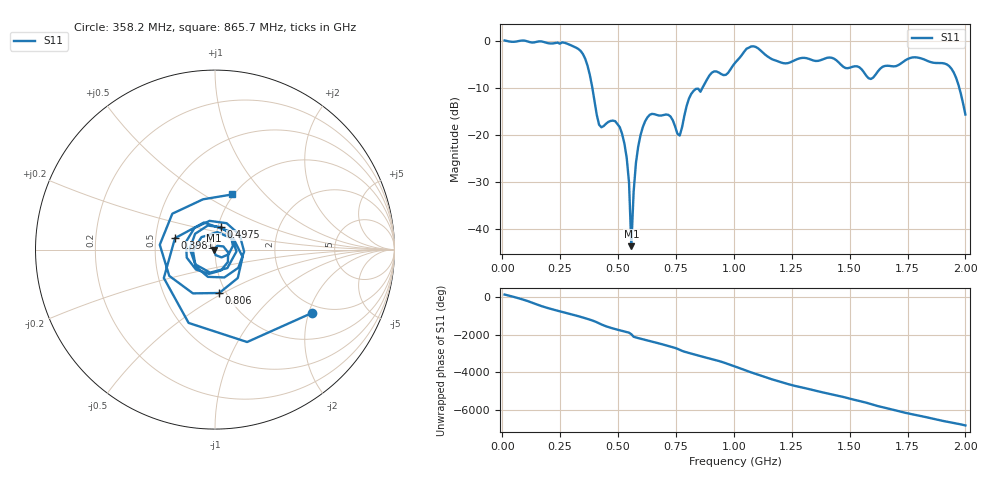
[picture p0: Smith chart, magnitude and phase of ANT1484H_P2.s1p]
!Created with skrf (http://scikit-rf.org).
# Hz S RI R 50.0
!freq ReS11 ImS11
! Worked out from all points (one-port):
!   201 points, 10 MHz to 2 GHz, reference 50 ohm
!   lowest |S11| = -43.8 dB at 557.2 MHz (marker M1), VSWR 1.01, Z = 49.4 - j0.144 ohm
!   |S11| at or under -10 dB: 389 MHz to 864.3 MHz (475.3 MHz wide, 75.8 % of centre); 1.974 GHz to end of sweep
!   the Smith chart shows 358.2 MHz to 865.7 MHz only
!   S11 on the Smith chart (normalised r, x): 358.2 MHz: 1.74, -2.11; 398.1 MHz: 0.63, +0.08; 497.6 MHz: 1.04, +0.26; 806 MHz: 0.93, -0.48; 865.7 MHz: 0.98, +0.67
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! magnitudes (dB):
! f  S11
! 10 MHz  0.1
! 258.8 MHz  -0.3
! 358.2 MHz  -3.8
! 398.1 MHz  -12.7
! 427.9 MHz  -18.4
! 497.6 MHz  -17.7
! 507.5 MHz  -18.4
! 537.4 MHz  -24.9
! 547.3 MHz  -30.2
! 557.2 MHz  -43.8
! 567.2 MHz  -32.2
! 577.1 MHz  -26.0
! 617 MHz  -17.1
! 716.5 MHz  -15.7
! 756.2 MHz  -19.8
! 766.2 MHz  -20.2
! 806 MHz  -12.3
! 865.7 MHz  -9.9
! 1.005 GHz  -4.7
! 1.085 GHz  -1.1
! 1.254 GHz  -4.3
! 1.423 GHz  -3.6
! 1.502 GHz  -5.7
! 1.592 GHz  -8.1
! 1.751 GHz  -3.8
! 1.93 GHz  -5.4
! 1.97 GHz  -9.4
! 2 GHz  -15.7
